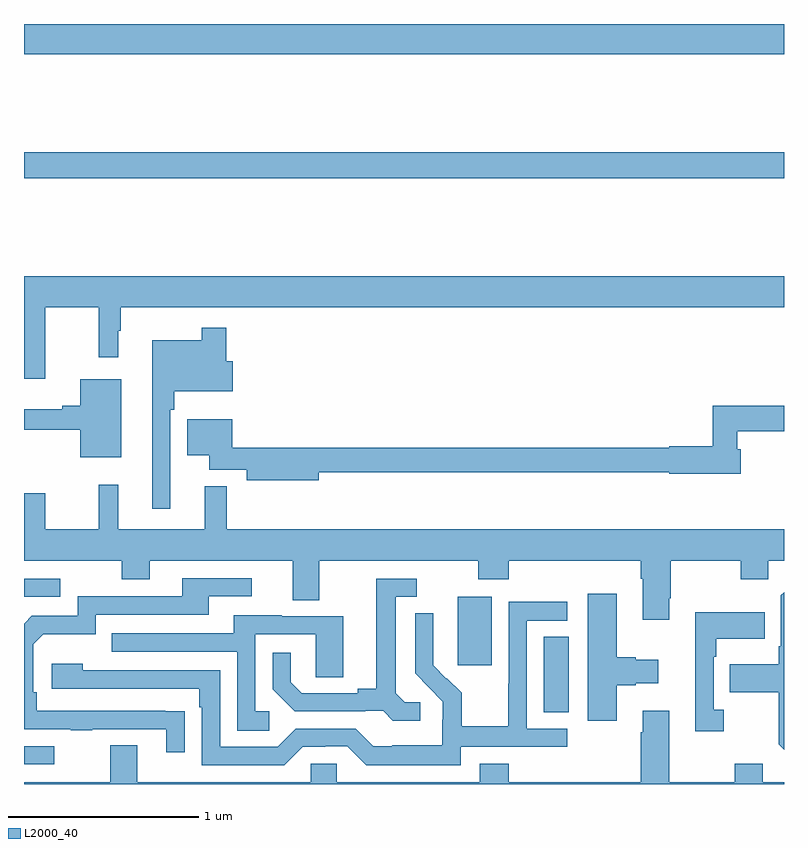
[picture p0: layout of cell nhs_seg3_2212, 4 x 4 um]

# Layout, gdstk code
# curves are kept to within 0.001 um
import gdstk
lib = gdstk.Library(unit=1e-6, precision=1e-09)
def R(c, l, rs):  # rectangles x0, y0, x1, y1
    for r in rs: c.add(gdstk.rectangle(r[:2], r[2:], *l))
def P(c, l, *ps):  # polygons
    for p in ps: c.add(gdstk.Polygon(p, *l))
L2000_40 = (2000, 40)

nhs_seg3_2212 = lib.new_cell('nhs_seg3_2212')
R(nhs_seg3_2212, L2000_40, [(225,706.503,225.16,706.599), (227.735,706.777,227.866,707.174), (227.282,707.025,227.461,707.386), (225,707.385,225.19,707.481), (225,709.588,229,709.724), (225,710.24,229,710.4)])
P(nhs_seg3_2212, L2000_40, [(225.112,708.908),(225.394,708.908),(225.394,708.645),(225.496,708.645),(225.496,708.785),(225.508,708.785),(225.508,708.908),(229,708.908),(229,709.072),(225,709.072),(225,708.534),(225.112,708.534)],
  [(225.771,708.371),(225.791,708.371),(225.791,708.467),(226.099,708.467),(226.099,708.625),(226.064,708.625),(226.064,708.802),(225.936,708.802),(225.936,708.736),(225.674,708.736),(225.674,707.85),(225.771,707.85)],
  [(225.511,708.529),(225.296,708.529),(225.296,708.392),(225.2,708.392),(225.2,708.373),(225,708.373),(225,708.264),(225.296,708.264),(225.296,708.119),(225.511,708.119)],
  [(226.552,708.042),(228.396,708.042),(228.396,708.034),(228.772,708.034),(228.772,708.163),(228.754,708.163),(228.754,708.256),(229,708.256),(229,708.392),(228.625,708.392),(228.625,708.178),(228.396,708.178),(228.396,708.17),(226.402,708.17),(226.402,708.171),(226.096,708.171),(226.096,708.319),(225.86,708.319),(225.86,708.131),(225.974,708.131),(225.974,708.053),(226.172,708.053),(226.172,707.999),(226.552,707.999)],
  [(228.397,707.377),(228.405,707.377),(228.405,707.576),(228.772,707.576),(228.772,707.477),(228.918,707.477),(228.918,707.576),(229,707.576),(229,707.74),(226.067,707.74),(226.067,707.968),(225.95,707.968),(225.95,707.74),(225.497,707.74),(225.497,707.974),(225.394,707.974),(225.394,707.74),(225.112,707.74),(225.112,707.929),(225,707.929),(225,707.576),(225.514,707.576),(225.514,707.477),(225.661,707.477),(225.661,707.576),(226.415,707.576),(226.415,707.368),(226.555,707.368),(226.555,707.576),(227.392,707.576),(227.392,707.477),(227.552,707.477),(227.552,707.576),(228.245,707.576),(228.245,707.48),(228.257,707.48),(228.257,707.265),(228.397,707.265)],
  [(225.845,706.784),(225.068,706.785),(225.068,706.882),(225.048,706.882),(225.048,707.136),(225.101,707.189),(225.378,707.189),(225.378,707.292),(225.973,707.292),(225.973,707.388),(226.198,707.388),(226.198,707.484),(225.833,707.484),(225.833,707.388),(225.282,707.388),(225.282,707.286),(225.042,707.286),(225,707.244),(225,706.689),(225.247,706.689),(225.247,706.684),(225.359,706.684),(225.359,706.689),(225.749,706.689),(225.749,706.566),(225.845,706.566)],
  [(227.086,706.83),(227.004,706.83),(226.957,706.877),(226.957,707.385),(227.068,707.385),(227.068,707.481),(226.853,707.481),(226.853,706.901),(226.757,706.901),(226.757,706.878),(226.462,706.878),(226.405,706.935),(226.405,707.092),(226.308,707.092),(226.308,706.898),(226.424,706.782),(226.796,706.782),(226.796,706.785),(226.89,706.785),(226.942,706.733),(227.086,706.733)],
  [(229,707.41),(228.984,707.394),(228.984,707.125),(228.972,707.125),(228.972,707.029),(228.715,707.029),(228.715,706.882),(228.972,706.882),(228.972,706.609),(229,706.581)],
  [(228.121,706.919),(228.221,706.919),(228.221,706.931),(228.337,706.931),(228.337,707.053),(228.221,707.053),(228.221,707.066),(228.121,707.066),(228.121,707.401),(227.966,707.401),(227.966,706.734),(228.121,706.734)],
  [(227.298,706.596),(227.86,706.596),(227.86,706.692),(227.646,706.692),(227.646,707.259),(227.86,707.259),(227.86,707.358),(227.55,707.358),(227.55,706.928),(227.548,706.928),(227.548,706.705),(227.303,706.705),(227.303,706.879),(227.226,706.956),(227.223,706.953),(227.153,707.024),(227.154,707.3),(227.058,707.3),(227.058,706.982),(227.204,706.834),(227.204,706.737),(227.202,706.737),(227.202,706.603),(226.939,706.603),(226.939,706.599),(226.839,706.599),(226.746,706.692),(226.431,706.692),(226.335,706.596),(226.032,706.596),(226.032,706.998),(225.308,706.998),(225.308,707.032),(225.147,707.032),(225.147,706.902),(225.923,706.902),(225.923,706.805),(225.936,706.805),(225.936,706.5),(226.371,706.5),(226.467,706.596),(226.586,706.596),(226.586,706.599),(226.701,706.599),(226.801,706.499),(227.298,706.499)],
  [(228.682,706.79),(228.63,706.79),(228.63,707.069),(228.643,707.069),(228.643,707.165),(228.899,707.165),(228.899,707.305),(228.533,707.305),(228.533,706.677),(228.682,706.677)],
  [(226.291,706.782),(226.218,706.782),(226.218,707.187),(226.536,707.187),(226.536,706.963),(226.681,706.963),(226.681,707.283),(226.357,707.283),(226.357,707.287),(226.103,707.287),(226.103,707.193),(225.463,707.193),(225.463,707.097),(226.122,707.097),(226.122,706.681),(226.291,706.681)],
  [(229,706.408),(228.889,706.408),(228.889,706.507),(228.742,706.507),(228.742,706.408),(228.397,706.408),(228.397,706.786),(228.257,706.786),(228.257,706.673),(228.245,706.673),(228.245,706.408),(227.552,706.408),(227.552,706.507),(227.399,706.507),(227.399,706.408),(226.647,706.408),(226.647,706.506),(226.509,706.506),(226.509,706.408),(225.595,706.408),(225.595,706.603),(225.455,706.603),(225.455,706.408),(225,706.408),(225,706.4),(229,706.4)])

lib.write_gds('nhs_seg3_2212.gds')
